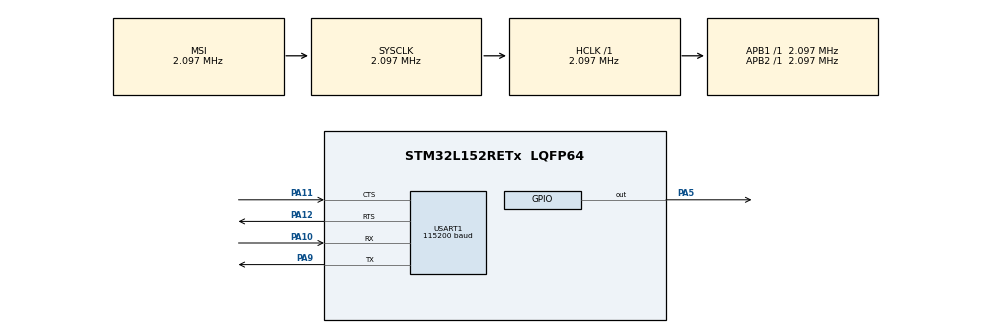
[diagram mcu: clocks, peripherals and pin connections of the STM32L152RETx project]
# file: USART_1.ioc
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Mcu.Family=STM32L1
Mcu.Name=STM32L152RETx
Mcu.Package=LQFP64
NVIC.PriorityGroup=NVIC_PRIORITYGROUP_4
PA10.Mode=Asynchronous
PA10.Signal=USART1_RX
PA11.Mode=CTS_RTS
PA11.Signal=USART1_CTS
PA12.Mode=CTS_RTS
PA12.Signal=USART1_RTS
PA5.Signal=GPIO_Output
PA9.Mode=Asynchronous
PA9.Signal=USART1_TX
ProjectManager.HeapSize=0x200
ProjectManager.StackSize=0x400
ProjectManager.TargetToolchain=MDK-ARM V5.27
RCC.48MHZClocksFreq_Value=24000000
RCC.AHBFreq_Value=2097000
RCC.APB1Freq_Value=2097000
RCC.APB1TimFreq_Value=2097000
RCC.APB2Freq_Value=2097000
RCC.APB2TimFreq_Value=2097000
RCC.HCLKFreq_Value=2097000
RCC.HSE_VALUE=24000000
RCC.HSI_VALUE=16000000
RCC.LSE_VALUE=32768
RCC.MSI_VALUE=2097000
RCC.SYSCLKFreq_VALUE=2097000
RCC.VCOOutputFreq_Value=48000000
USART1.BaudRate=115200
USART1.VirtualMode=VM_ASYNC
board=custom

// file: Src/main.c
/* USER CODE BEGIN Header */
/**
  ******************************************************************************
  * @file           : main.c
  * @brief          : Main program body
  ******************************************************************************
  * @attention
  *
  * <h2><center>&copy; Copyright (c) 2020 STMicroelectronics.
  * All rights reserved.</center></h2>
  *
  * This software component is licensed by ST under BSD 3-Clause license,
  * the "License"; You may not use this file except in compliance with the
  * License. You may obtain a copy of the License at:
  *                        opensource.org/licenses/BSD-3-Clause
  *
  ******************************************************************************
  */
/* USER CODE END Header */

#include "main.h"

/* USER CODE BEGIN PM */
#define PCORE 1
#define SCORE 2
#define REBOT 3
#define STEST 4
#define SLEEP 5
#define KILLD 6

#define ONE 1
#define ZERO 0
/* USER CODE END PM */

UART_HandleTypeDef huart1;

/* USER CODE BEGIN PV */
uint8_t state[2]; //Pcore, Score, sleep, killd, rebot, Stest
uint8_t next_state[2];
uint8_t temp[5];
int firstSet = 1;
/* USER CODE END PV */

void SystemClock_Config(void);
static void MX_GPIO_Init(void);
static void MX_USART1_UART_Init(void);

/* USER CODE BEGIN 0 */
	uint8_t Trigger = 1;
	uint8_t first = 1;
/* USER CODE END 0 */

int main(void)
{
  /* USER CODE BEGIN 1 */
	next_state[0] = PCORE;
	next_state[1] = SCORE;
	//next_state[2] = REBOT;
  /* USER CODE END 1 */

  /* MCU Configuration--------------------------------------------------------*/

  /* Reset of all peripherals, Initializes the Flash interface and the Systick. */
  HAL_Init();

  /* Configure the system clock */
  SystemClock_Config();

  /* Initialize all configured peripherals */
  MX_GPIO_Init();
  MX_USART1_UART_Init();

  /* Infinite loop */
  while (1)
  {
		if(first == 1){
			while(HAL_UART_Transmit(&huart1, next_state, 2, 10) != HAL_OK){}
			first = 0;
		}
		//HAL_GPIO_WritePin(GPIOA, GPIO_PIN_5, GPIO_PIN_SET);
		while(HAL_UART_Receive(&huart1, state, 2, 10) != HAL_OK){}
		//HAL_GPIO_WritePin(GPIOA, GPIO_PIN_5, GPIO_PIN_RESET);

		if(Trigger == 1){
			if(state[0] == 1)//PCORE
			{
				next_state[0] = 2;
			}
			else if(state[0] == 2) //SCORE
			{
				next_state[0] = 1;
			}
			HAL_GPIO_WritePin(GPIOA, GPIO_PIN_5, GPIO_PIN_SET);
		}

		HAL_GPIO_WritePin(GPIOA, GPIO_PIN_5, GPIO_PIN_RESET);
		while(HAL_UART_Transmit(&huart1, state, 2, 10) != HAL_OK){}
		HAL_Delay(500);
  }
}

void SystemClock_Config(void)
{
  RCC_OscInitTypeDef RCC_OscInitStruct = {0};
  RCC_ClkInitTypeDef RCC_ClkInitStruct = {0};

  /** Configure the main internal regulator output voltage
  */
  __HAL_PWR_VOLTAGESCALING_CONFIG(PWR_REGULATOR_VOLTAGE_SCALE1);
  /** Initializes the CPU, AHB and APB busses clocks
  */
  RCC_OscInitStruct.OscillatorType = RCC_OSCILLATORTYPE_MSI;
  RCC_OscInitStruct.MSIState = RCC_MSI_ON;
  RCC_OscInitStruct.MSICalibrationValue = 0;
  RCC_OscInitStruct.MSIClockRange = RCC_MSIRANGE_5;
  RCC_OscInitStruct.PLL.PLLState = RCC_PLL_NONE;
  if (HAL_RCC_OscConfig(&RCC_OscInitStruct) != HAL_OK)
  {
    Error_Handler();
  }
  /** Initializes the CPU, AHB and APB busses clocks
  */
  RCC_ClkInitStruct.ClockType = RCC_CLOCKTYPE_HCLK|RCC_CLOCKTYPE_SYSCLK
                              |RCC_CLOCKTYPE_PCLK1|RCC_CLOCKTYPE_PCLK2;
  RCC_ClkInitStruct.SYSCLKSource = RCC_SYSCLKSOURCE_MSI;
  RCC_ClkInitStruct.AHBCLKDivider = RCC_SYSCLK_DIV1;
  RCC_ClkInitStruct.APB1CLKDivider = RCC_HCLK_DIV1;
  RCC_ClkInitStruct.APB2CLKDivider = RCC_HCLK_DIV1;

  if (HAL_RCC_ClockConfig(&RCC_ClkInitStruct, FLASH_LATENCY_0) != HAL_OK)
  {
    Error_Handler();
  }
}

static void MX_USART1_UART_Init(void)
{

  huart1.Instance = USART1;
  huart1.Init.BaudRate = 115200;
  huart1.Init.WordLength = UART_WORDLENGTH_8B;
  huart1.Init.StopBits = UART_STOPBITS_1;
  huart1.Init.Parity = UART_PARITY_NONE;
  huart1.Init.Mode = UART_MODE_TX_RX;
  huart1.Init.HwFlowCtl = UART_HWCONTROL_RTS_CTS;
  huart1.Init.OverSampling = UART_OVERSAMPLING_16;
  if (HAL_UART_Init(&huart1) != HAL_OK)
  {
    Error_Handler();
  }

}

static void MX_GPIO_Init(void)
{
  GPIO_InitTypeDef GPIO_InitStruct = {0};

  /* GPIO Ports Clock Enable */
  __HAL_RCC_GPIOA_CLK_ENABLE();

  /*Configure GPIO pin Output Level */
  HAL_GPIO_WritePin(GPIOA, GPIO_PIN_5, GPIO_PIN_RESET);

  /*Configure GPIO pin : PA5 */
  GPIO_InitStruct.Pin = GPIO_PIN_5;
  GPIO_InitStruct.Mode = GPIO_MODE_OUTPUT_PP;
  GPIO_InitStruct.Pull = GPIO_NOPULL;
  GPIO_InitStruct.Speed = GPIO_SPEED_FREQ_LOW;
  HAL_GPIO_Init(GPIOA, &GPIO_InitStruct);

}

void Error_Handler(void)
{
}

/************************ (C) COPYRIGHT STMicroelectronics *****END OF FILE****/
